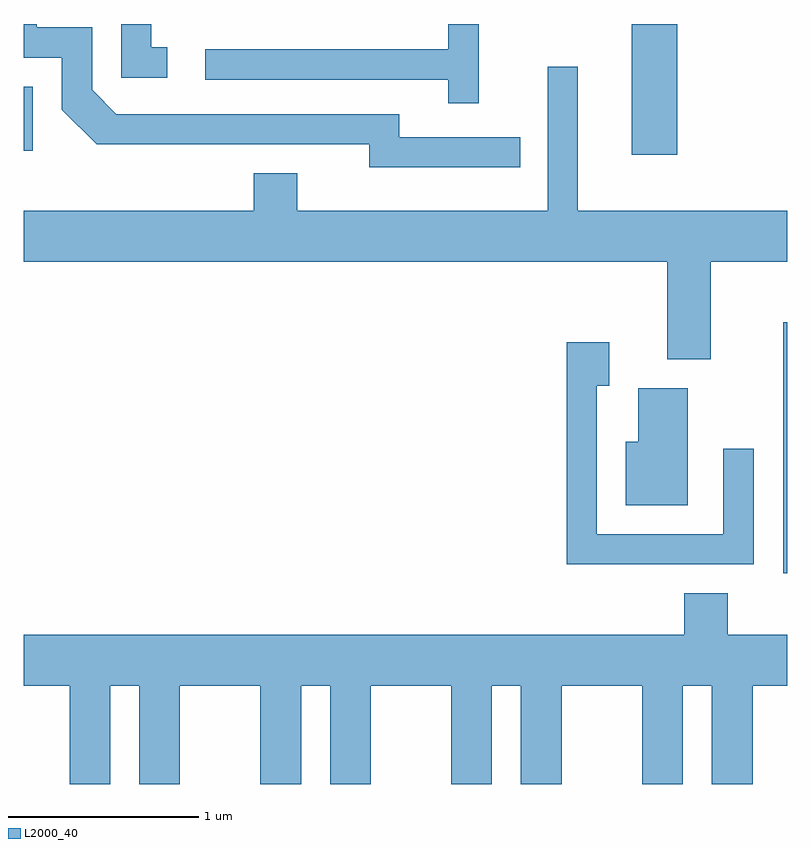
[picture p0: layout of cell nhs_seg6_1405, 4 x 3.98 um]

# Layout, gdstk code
import gdstk
lib = gdstk.Library(unit=1e-6, precision=1e-09)
def R(c, l, rs):  # rectangles x0, y0, x1, y1
    for r in rs: c.add(gdstk.rectangle(r[:2], r[2:], *l))
def P(c, l, *ps):  # polygons
    for p in ps: c.add(gdstk.Polygon(p, *l))
L2000_40 = (2000, 40)

nhs_seg6_1405 = lib.new_cell('nhs_seg6_1405')
R(nhs_seg6_1405, L2000_40, [(231.591,1557.286,231.611,1558.599), (230.796,1559.476,231.034,1560.162), (227.611,1559.498,227.659,1559.834)])
P(nhs_seg6_1405, L2000_40, [(230.213,1559.569),(229.579,1559.569),(229.579,1559.689),(228.097,1559.689),(227.969,1559.817),(227.969,1560.144),(227.679,1560.144),(227.679,1560.162),(227.611,1560.162),(227.611,1559.986),(227.811,1559.986),(227.811,1559.714),(227.994,1559.531),(229.421,1559.531),(229.421,1559.411),(230.213,1559.411)],
  [(228.363,1560.039),(228.279,1560.039),(228.279,1560.162),(228.121,1560.162),(228.121,1559.881),(228.363,1559.881)],
  [(229.994,1560.162),(229.836,1560.162),(229.836,1560.029),(228.563,1560.029),(228.563,1559.871),(229.836,1559.871),(229.836,1559.748),(229.994,1559.748)],
  [(231.209,1558.916),(231.611,1558.916),(231.611,1559.184),(230.514,1559.184),(230.514,1559.938),(230.356,1559.938),(230.356,1559.184),(229.044,1559.184),(229.044,1559.379),(228.816,1559.379),(228.816,1559.184),(227.611,1559.184),(227.611,1558.916),(230.981,1558.916),(230.981,1558.406),(231.209,1558.406)],
  [(231.434,1557.938),(231.276,1557.938),(231.276,1557.489),(230.614,1557.489),(230.614,1558.266),(230.679,1558.266),(230.679,1558.494),(230.456,1558.494),(230.456,1557.331),(231.434,1557.331)],
  [(231.089,1558.254),(230.831,1558.254),(230.831,1557.974),(230.766,1557.974),(230.766,1557.641),(231.089,1557.641)],
  [(228.064,1556.696),(228.216,1556.696),(228.216,1556.181),(228.429,1556.181),(228.429,1556.696),(228.851,1556.696),(228.851,1556.181),(229.064,1556.181),(229.064,1556.696),(229.216,1556.696),(229.216,1556.181),(229.429,1556.181),(229.429,1556.696),(229.851,1556.696),(229.851,1556.181),(230.064,1556.181),(230.064,1556.696),(230.216,1556.696),(230.216,1556.181),(230.429,1556.181),(230.429,1556.696),(230.851,1556.696),(230.851,1556.181),(231.064,1556.181),(231.064,1556.696),(231.216,1556.696),(231.216,1556.181),(231.429,1556.181),(231.429,1556.696),(231.611,1556.696),(231.611,1556.964),(231.299,1556.964),(231.299,1557.179),(231.071,1557.179),(231.071,1556.964),(227.611,1556.964),(227.611,1556.696),(227.851,1556.696),(227.851,1556.181),(228.064,1556.181)])

lib.write_gds('nhs_seg6_1405.gds')
